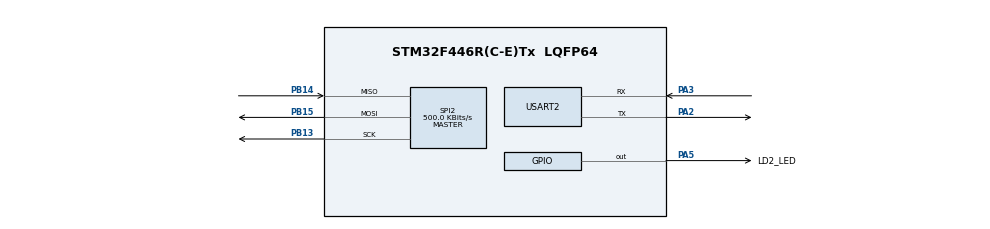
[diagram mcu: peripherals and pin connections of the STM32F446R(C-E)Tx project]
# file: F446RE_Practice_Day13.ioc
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Dma.Request0=SPI2_RX
Dma.Request1=SPI2_TX
Dma.SPI2_RX.0.Direction=DMA_PERIPH_TO_MEMORY
Dma.SPI2_RX.0.FIFOMode=DMA_FIFOMODE_DISABLE
Dma.SPI2_RX.0.Instance=DMA1_Stream3
Dma.SPI2_RX.0.MemDataAlignment=DMA_MDATAALIGN_BYTE
Dma.SPI2_RX.0.MemInc=DMA_MINC_ENABLE
Dma.SPI2_RX.0.Mode=DMA_NORMAL
Dma.SPI2_RX.0.PeriphDataAlignment=DMA_PDATAALIGN_BYTE
Dma.SPI2_RX.0.PeriphInc=DMA_PINC_DISABLE
Dma.SPI2_RX.0.Priority=DMA_PRIORITY_LOW
Dma.SPI2_TX.1.Direction=DMA_MEMORY_TO_PERIPH
Dma.SPI2_TX.1.FIFOMode=DMA_FIFOMODE_DISABLE
Dma.SPI2_TX.1.Instance=DMA1_Stream4
Dma.SPI2_TX.1.MemDataAlignment=DMA_MDATAALIGN_BYTE
Dma.SPI2_TX.1.MemInc=DMA_MINC_ENABLE
Dma.SPI2_TX.1.Mode=DMA_NORMAL
Dma.SPI2_TX.1.PeriphDataAlignment=DMA_PDATAALIGN_BYTE
Dma.SPI2_TX.1.PeriphInc=DMA_PINC_DISABLE
Dma.SPI2_TX.1.Priority=DMA_PRIORITY_LOW
Mcu.Family=STM32F4
Mcu.Name=STM32F446R(C-E)Tx
Mcu.Package=LQFP64
NVIC.DMA1_Stream3_IRQn=true\:0\:0\:false\:false\:true\:false\:true\:true
NVIC.DMA1_Stream4_IRQn=true\:0\:0\:false\:false\:true\:false\:true\:true
NVIC.PriorityGroup=NVIC_PRIORITYGROUP_4
PA13.Mode=Serial_Wire
PA13.Signal=SYS_JTMS-SWDIO
PA14.Mode=Serial_Wire
PA14.Signal=SYS_JTCK-SWCLK
PA2.Mode=Asynchronous
PA2.Signal=USART2_TX
PA3.Mode=Asynchronous
PA3.Signal=USART2_RX
PA5.GPIO_Label=LD2_LED
PA5.Signal=GPIO_Output
PB13.Mode=Full_Duplex_Master
PB13.Signal=SPI2_SCK
PB14.Mode=Full_Duplex_Master
PB14.Signal=SPI2_MISO
PB15.Mode=Full_Duplex_Master
PB15.Signal=SPI2_MOSI
ProjectManager.HeapSize=0x200
ProjectManager.StackSize=0x400
ProjectManager.TargetToolchain=STM32CubeIDE
RCC.CortexFreq_Value=16000000
RCC.USBFreq_Value=96000000
RCC.VCOOutputFreq_Value=192000000
SPI2.BaudRatePrescaler=SPI_BAUDRATEPRESCALER_32
SPI2.CalculateBaudRate=500.0 KBits/s
SPI2.Direction=SPI_DIRECTION_2LINES
SPI2.Mode=SPI_MODE_MASTER
SPI2.VirtualType=VM_MASTER
USART2.VirtualMode=VM_ASYNC
board=custom

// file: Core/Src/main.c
/* USER CODE BEGIN Header */
/**
  ******************************************************************************
  * @file           : main.c
  * @brief          : Main program body
  ******************************************************************************
  * @attention
  *
  * Copyright (c) 2026 STMicroelectronics.
  * All rights reserved.
  *
  * This software is licensed under terms that can be found in the LICENSE file
  * in the root directory of this software component.
  * If no LICENSE file comes with this software, it is provided AS-IS.
  *
  ******************************************************************************
  */
/* USER CODE END Header */
#include "main.h"

/* USER CODE BEGIN Includes */

#include <stdbool.h>
#include <string.h>

/* USER CODE END Includes */

SPI_HandleTypeDef hspi2;
DMA_HandleTypeDef hdma_spi2_rx;
DMA_HandleTypeDef hdma_spi2_tx;

UART_HandleTypeDef huart2;

/* USER CODE BEGIN PV */

#define SPI_BUFFER_SIZE 16U

static uint8_t spi_tx_buffer[SPI_BUFFER_SIZE] =
{
    0x00U, 0x11U, 0x22U, 0x33U,
    0x44U, 0x55U, 0x66U, 0x77U,
    0x88U, 0x99U, 0xAAU, 0xBBU,
    0xCCU, 0xDDU, 0xEEU, 0xFFU
};

static uint8_t spi_rx_buffer[SPI_BUFFER_SIZE];

volatile bool spi_transfer_done = false;
volatile bool spi_transfer_error = false;

volatile uint32_t spi_success_count = 0U;
volatile uint32_t spi_failure_count = 0U;
volatile uint32_t spi_error_code = 0U;
volatile uint32_t first_mismatch_index = 0xFFFFFFFFU;

/* USER CODE END PV */

void SystemClock_Config(void);
static void MX_GPIO_Init(void);
static void MX_DMA_Init(void);
static void MX_SPI2_Init(void);
static void MX_USART2_UART_Init(void);

/* USER CODE BEGIN 0 */

static bool SPI_VerifyLoopback(
    const uint8_t *tx,
    const uint8_t *rx,
    uint32_t length)
{
    first_mismatch_index = 0xFFFFFFFFU;

    for (uint32_t i = 0U; i < length; i++)
    {
        if (tx[i] != rx[i])
        {
            first_mismatch_index = i;
            return false;
        }
    }

    return true;
}

/* USER CODE END 0 */

int main(void)
{

  /* MCU Configuration--------------------------------------------------------*/

  /* Reset of all peripherals, Initializes the Flash interface and the Systick. */
  HAL_Init();

  /* Configure the system clock */
  SystemClock_Config();

  /* Initialize all configured peripherals */
  MX_GPIO_Init();
  MX_DMA_Init();
  MX_SPI2_Init();
  MX_USART2_UART_Init();
  /* USER CODE BEGIN 2 */

  memset(
      spi_rx_buffer,
      0,
      sizeof(spi_rx_buffer));

  if (HAL_SPI_TransmitReceive_DMA(
          &hspi2,
          spi_tx_buffer,
          spi_rx_buffer,
          SPI_BUFFER_SIZE) != HAL_OK)
  {
      Error_Handler();
  }

  uint32_t led_tick = HAL_GetTick();
  uint32_t next_transfer_tick = HAL_GetTick();
  bool last_transfer_ok = false;

  /* USER CODE END 2 */

  /* Infinite loop */
  while (1)
  {

    /* USER CODE BEGIN 3 */

	  uint32_t now = HAL_GetTick();

	  if (spi_transfer_done)
	  {
		  spi_transfer_done = false;

		  if (SPI_VerifyLoopback(
				  spi_tx_buffer,
				  spi_rx_buffer,
				  SPI_BUFFER_SIZE))
		  {
			  spi_success_count++;
			  last_transfer_ok = true;
		  }
		  else
		  {
			  spi_failure_count++;
			  last_transfer_ok = false;
		  }

		  next_transfer_tick = now + 1000U;
	  }

	  if (spi_transfer_error)
	  {
		  spi_transfer_error = false;
		  spi_failure_count++;
		  last_transfer_ok = false;

		  next_transfer_tick = now + 1000U;
	  }

	  /*
	   * 每秒執行一次新的 Loopback 傳輸。
	   */
	  if ((int32_t)(now - next_transfer_tick) >= 0)
	  {
		  memset(
			  spi_rx_buffer,
			  0,
			  sizeof(spi_rx_buffer));

		  if (HAL_SPI_TransmitReceive_DMA(
				  &hspi2,
				  spi_tx_buffer,
				  spi_rx_buffer,
				  SPI_BUFFER_SIZE) != HAL_OK)
		  {
			  spi_failure_count++;
			  last_transfer_ok = false;
		  }

		  /*
		   * 避免主迴圈在 DMA 尚未完成時重複啟動。
		   * 下一次真正的時間會在完成 Callback 後更新。
		   */
		  next_transfer_tick = 0xFFFFFFFFU;
	  }

	  /*
	   * 成功：每 500 ms 切換一次。
	   * 失敗：每 100 ms 切換一次。
	   */
	  uint32_t blink_period =
		  last_transfer_ok ? 500U : 100U;

	  if ((uint32_t)(now - led_tick) >= blink_period)
	  {
		  led_tick = now;

		  HAL_GPIO_TogglePin(
			  GPIOA,
			  GPIO_PIN_5);
	  }

  }
  /* USER CODE END 3 */
}

void SystemClock_Config(void)
{
  RCC_OscInitTypeDef RCC_OscInitStruct = {0};
  RCC_ClkInitTypeDef RCC_ClkInitStruct = {0};

  /** Configure the main internal regulator output voltage
  */
  __HAL_RCC_PWR_CLK_ENABLE();
  __HAL_PWR_VOLTAGESCALING_CONFIG(PWR_REGULATOR_VOLTAGE_SCALE3);

  /** Initializes the RCC Oscillators according to the specified parameters
  * in the RCC_OscInitTypeDef structure.
  */
  RCC_OscInitStruct.OscillatorType = RCC_OSCILLATORTYPE_HSI;
  RCC_OscInitStruct.HSIState = RCC_HSI_ON;
  RCC_OscInitStruct.HSICalibrationValue = RCC_HSICALIBRATION_DEFAULT;
  RCC_OscInitStruct.PLL.PLLState = RCC_PLL_NONE;
  if (HAL_RCC_OscConfig(&RCC_OscInitStruct) != HAL_OK)
  {
    Error_Handler();
  }

  /** Initializes the CPU, AHB and APB buses clocks
  */
  RCC_ClkInitStruct.ClockType = RCC_CLOCKTYPE_HCLK|RCC_CLOCKTYPE_SYSCLK
                              |RCC_CLOCKTYPE_PCLK1|RCC_CLOCKTYPE_PCLK2;
  RCC_ClkInitStruct.SYSCLKSource = RCC_SYSCLKSOURCE_HSI;
  RCC_ClkInitStruct.AHBCLKDivider = RCC_SYSCLK_DIV1;
  RCC_ClkInitStruct.APB1CLKDivider = RCC_HCLK_DIV1;
  RCC_ClkInitStruct.APB2CLKDivider = RCC_HCLK_DIV1;

  if (HAL_RCC_ClockConfig(&RCC_ClkInitStruct, FLASH_LATENCY_0) != HAL_OK)
  {
    Error_Handler();
  }
}

static void MX_SPI2_Init(void)
{

  /* SPI2 parameter configuration*/
  hspi2.Instance = SPI2;
  hspi2.Init.Mode = SPI_MODE_MASTER;
  hspi2.Init.Direction = SPI_DIRECTION_2LINES;
  hspi2.Init.DataSize = SPI_DATASIZE_8BIT;
  hspi2.Init.CLKPolarity = SPI_POLARITY_LOW;
  hspi2.Init.CLKPhase = SPI_PHASE_1EDGE;
  hspi2.Init.NSS = SPI_NSS_SOFT;
  hspi2.Init.BaudRatePrescaler = SPI_BAUDRATEPRESCALER_32;
  hspi2.Init.FirstBit = SPI_FIRSTBIT_MSB;
  hspi2.Init.TIMode = SPI_TIMODE_DISABLE;
  hspi2.Init.CRCCalculation = SPI_CRCCALCULATION_DISABLE;
  hspi2.Init.CRCPolynomial = 10;
  if (HAL_SPI_Init(&hspi2) != HAL_OK)
  {
    Error_Handler();
  }

}

static void MX_USART2_UART_Init(void)
{

  huart2.Instance = USART2;
  huart2.Init.BaudRate = 115200;
  huart2.Init.WordLength = UART_WORDLENGTH_8B;
  huart2.Init.StopBits = UART_STOPBITS_1;
  huart2.Init.Parity = UART_PARITY_NONE;
  huart2.Init.Mode = UART_MODE_TX_RX;
  huart2.Init.HwFlowCtl = UART_HWCONTROL_NONE;
  huart2.Init.OverSampling = UART_OVERSAMPLING_16;
  if (HAL_UART_Init(&huart2) != HAL_OK)
  {
    Error_Handler();
  }

}

static void MX_DMA_Init(void)
{

  /* DMA controller clock enable */
  __HAL_RCC_DMA1_CLK_ENABLE();

  /* DMA interrupt init */
  /* DMA1_Stream3_IRQn interrupt configuration */
  HAL_NVIC_SetPriority(DMA1_Stream3_IRQn, 0, 0);
  HAL_NVIC_EnableIRQ(DMA1_Stream3_IRQn);
  /* DMA1_Stream4_IRQn interrupt configuration */
  HAL_NVIC_SetPriority(DMA1_Stream4_IRQn, 0, 0);
  HAL_NVIC_EnableIRQ(DMA1_Stream4_IRQn);

}

static void MX_GPIO_Init(void)
{
  GPIO_InitTypeDef GPIO_InitStruct = {0};

  /* GPIO Ports Clock Enable */
  __HAL_RCC_GPIOA_CLK_ENABLE();
  __HAL_RCC_GPIOB_CLK_ENABLE();

  /*Configure GPIO pin Output Level */
  HAL_GPIO_WritePin(LD2_LED_GPIO_Port, LD2_LED_Pin, GPIO_PIN_RESET);

  /*Configure GPIO pin : LD2_LED_Pin */
  GPIO_InitStruct.Pin = LD2_LED_Pin;
  GPIO_InitStruct.Mode = GPIO_MODE_OUTPUT_PP;
  GPIO_InitStruct.Pull = GPIO_NOPULL;
  GPIO_InitStruct.Speed = GPIO_SPEED_FREQ_LOW;
  HAL_GPIO_Init(LD2_LED_GPIO_Port, &GPIO_InitStruct);

}

/* USER CODE BEGIN 4 */

void HAL_SPI_TxRxCpltCallback(
    SPI_HandleTypeDef *hspi)
{
    if (hspi->Instance == SPI2)
    {
        spi_transfer_done = true;
    }
}

void HAL_SPI_ErrorCallback(
    SPI_HandleTypeDef *hspi)
{
    if (hspi->Instance == SPI2)
    {
        spi_error_code = HAL_SPI_GetError(hspi);
        spi_transfer_error = true;
    }
}

/* USER CODE END 4 */

void Error_Handler(void)
{
  __disable_irq();
  while (1)
  {
  }
}
